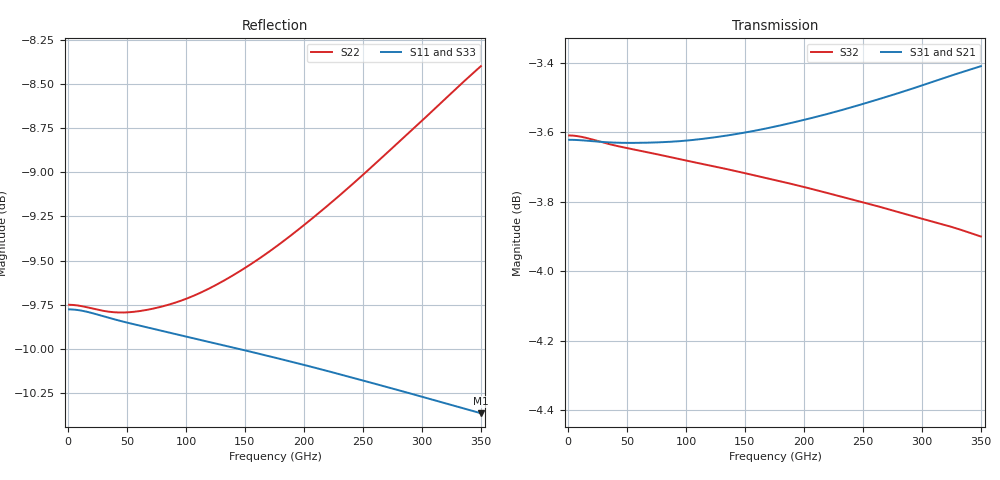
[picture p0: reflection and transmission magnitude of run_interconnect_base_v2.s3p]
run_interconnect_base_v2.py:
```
import os
import sys
sys.path.insert(0, os.path.abspath(os.path.join(os.path.dirname(__file__), 'modules')))

import modules.util_stackup_reader as stackup_reader
import modules.util_gds_reader as gds_reader
import modules.util_utilities as utilities
import modules.util_simulation_setup as simulation_setup
import modules.util_meshlines as util_meshlines

import os
import matplotlib.pyplot as plt  # pip install matplotlib
import numpy as np
from CSXCAD import ContinuousStructure
from CSXCAD import AppCSXCAD_BIN
from openEMS import openEMS
from openEMS.physical_constants import *


# Model comments
# Changes for IHP Analog Academy in 01/2026:
# Changed to MUR boundary at zmax so that radiation can be absorbed.
# From experience, using MUR can create numerical issue when it touches the lossy silicon, so it is ONLY used at zmax.
# All other boundaries use PEC, for best simulation speed.
# Distance to side walls reduced, we have not much field there because of the Metal1 ground layout.


# ======================== workflow settings ================================

# preview model/mesh only?
# postprocess existing data without re-running simulation?
preview_only = True
force_simulation=True
postprocess_only = False

# ===================== input files and path settings =======================

# GDS filename
gds_filename = "../klayout/Interconnect_base_v2.gds"
XML_filename = "SG13G2.xml"

# OBSOLETE! preprocess GDSII for safe handling of cutouts/holes?
# preprocess_gds = True

# merge polygons with distance less than xxx um, or set to 0 to disable via array merging
merge_polygon_size = 1 # Top2Via is 1.09 um apart, via2-4 0.42 um

# get path for this simulation file
script_path = utilities.get_script_path(__file__)

# use script filename as model basename
model_basename = utilities.get_basename(__file__)

# set and create directory for simulation output
sim_path = utilities.create_sim_path (script_path,model_basename)
print('Simulation data directory: ', sim_path)


# ======================== simulation settings ================================

# geometry is in microns
unit   = 1e-06   

# distance in microns from GDSII geometry boundary to simulation boundary 
margin = 20    

# Gauss impulse formation:
fstart = 0
fstop  = 350e9

# Fourier Transform - affects postprocessing only, not the FDTD itself!
numfreq = 401

# Meshing
cells_per_wavelength = 20   # how many mesh cells per wavelength, must be 10 or more
refined_cellsize = 0.5      # mesh cell size in conductor region in microns


# choices for boundary xmin,xmax,ymin,ymax,zmin,zmax: 
# 'PEC' : perfect electric conductor (default)
# 'PMC' : perfect magnetic conductor, useful for symmetries
# 'MUR' : simple MUR absorbing boundary conditions
# 'PML_8' : PML absorbing boundary conditions
Boundaries = ['PEC', 'PEC', 'PEC', 'PEC', 'PEC', 'PEC']


energy_limit = -50          # end criteria for residual energy (dB)

# ports from GDSII Data, polygon geometry from specified special layer
# note that for multiport simulation, excitations are switched on/off in simulation_setup.createSimulation below
simulation_ports = simulation_setup.all_simulation_ports()
simulation_ports.add_port(simulation_setup.simulation_port(portnumber=1, voltage=1, port_Z0=50, source_layernum=201, from_layername='Metal2', to_layername='Metal5', direction='z'))
simulation_ports.add_port(simulation_setup.simulation_port(portnumber=2, voltage=1, port_Z0=50, source_layernum=202, from_layername='Metal2', to_layername='TopMetal2', direction='z'))
simulation_ports.add_port(simulation_setup.simulation_port(portnumber=3, voltage=1, port_Z0=50, source_layernum=203, target_layername='Metal2', direction='-x'))


materials_list, dielectrics_list, metals_list = stackup_reader.read_substrate (XML_filename)
# get list of layers from technology
layernumbers = metals_list.getlayernumbers()
layernumbers.extend(simulation_ports.portlayers)

# read geometries from GDSII, only purpose 0
allpolygons = gds_reader.read_gds(gds_filename, layernumbers, purposelist=[0], metals_list=metals_list, merge_polygon_size=merge_polygon_size)


# calculate maximum cellsize from wavelength in dielectric
wavelength_air = 3e8/fstop
max_cellsize = (wavelength_air/unit)/(np.sqrt(materials_list.eps_max)*cells_per_wavelength) 


########### create model, run and post-process ###########


# Create simulation for port 1 .. 4 excitation, return value is data path for that excitation

FDTD = openEMS(EndCriteria=np.exp(energy_limit/10 * np.log(10)))
FDTD.SetGaussExcite( (fstart+fstop)/2, (fstop-fstart)/2 )
FDTD.SetBoundaryCond( Boundaries )

excite_ports_list = [[1],[2],[3]]  # list of ports that are excited in the different excitation runs
for excite_ports in excite_ports_list:
    # define excitation and stop criteria and boundaries
    FDTD = simulation_setup.setupSimulation (excite_ports, simulation_ports, FDTD, materials_list, dielectrics_list, metals_list, allpolygons, max_cellsize, refined_cellsize, margin, unit, xy_mesh_function=util_meshlines.create_xy_mesh_from_polygons)
    simulation_setup.runSimulation (excite_ports, FDTD, sim_path, model_basename, preview_only, postprocess_only, force_simulation)


if preview_only==False:

    print('Begin data evaluation')

    # Initialize an empty matrix for S-parameters
    num_ports = simulation_ports.portcount
    s_params = np.empty((num_ports, num_ports, numfreq), dtype=object)

    # Define frequency resolution (postprocessing)
    f = np.linspace(fstart, fstop, numfreq)

    # Populate the S-parameter matrix with simulation results
    for i in range(1, num_ports + 1):
        for j in range(1, num_ports + 1):
            s_params[i-1, j-1] = utilities.calculate_Sij(i, j, f, sim_path, simulation_ports)

    # Write to Touchstone *.snp file
    snp_name = os.path.join(sim_path, model_basename + '.s' + str(num_ports) + 'p')
    utilities.write_snp(s_params, f, snp_name, z0=simulation_ports.get_reference_impedance())

    print('Created S-parameter output file at ', snp_name)
```
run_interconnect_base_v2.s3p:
#  Hz  S  RI  R  50
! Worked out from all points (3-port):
!   400 points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, 875 MHz to 350 GHz, reference 50 ohm
!   strongest paths, dB at 875 MHz, 88.38 GHz, 175.9 GHz, 263.4 GHz, 350 GHz:
!     S31: -3.6, -3.6, -3.6, -3.5, -3.4
!     S21: -3.5, -3.6, -3.7, -3.7, -3.8
!     S32: -3.6, -3.7, -3.7, -3.8, -3.9
!   lowest |S11| = -10.4 dB at 350 GHz (marker M1), VSWR 1.87, Z = 27.9 + j8.91 ohm
!   |S11| at or under -10 dB: 144.9 GHz to end of sweep
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8.75e8  -0.3245 0.000514  0.6652 -0.00137  0.6591 -0.000672
        0.6652 -0.00137  -0.3255 0.00144  0.66 -0.0016
        0.6591 -0.00068  0.66 -0.00161  -0.3193 0.000777
8.1375e10  -0.3172 0.0411  0.6508 -0.122  0.656 -0.0595
           0.6507 -0.1218  -0.3015 0.1218  0.6403 -0.1405
           0.6558 -0.0601  0.6403 -0.1409  -0.3071 0.0624
1.6625e11  -0.3052 0.078  0.612 -0.241  0.6506 -0.121
           0.6118 -0.2404  -0.2446 0.2306  0.5901 -0.2746
           0.6501 -0.1221  0.5898 -0.2753  -0.2841 0.1178
2.61625e11  -0.2869 0.115  0.5425 -0.3601  0.6402 -0.193
            0.5424 -0.3588  -0.1478 0.3251  0.5013 -0.4054
            0.639 -0.1943  0.5005 -0.4065  -0.2473 0.1711
3.5e11  -0.2664 0.1448  0.4581 -0.4522  0.6235 -0.263
        0.4585 -0.45  -0.0366 0.3784  0.3945 -0.5019
        0.6216 -0.2641  0.393 -0.503  -0.2051 0.2105
